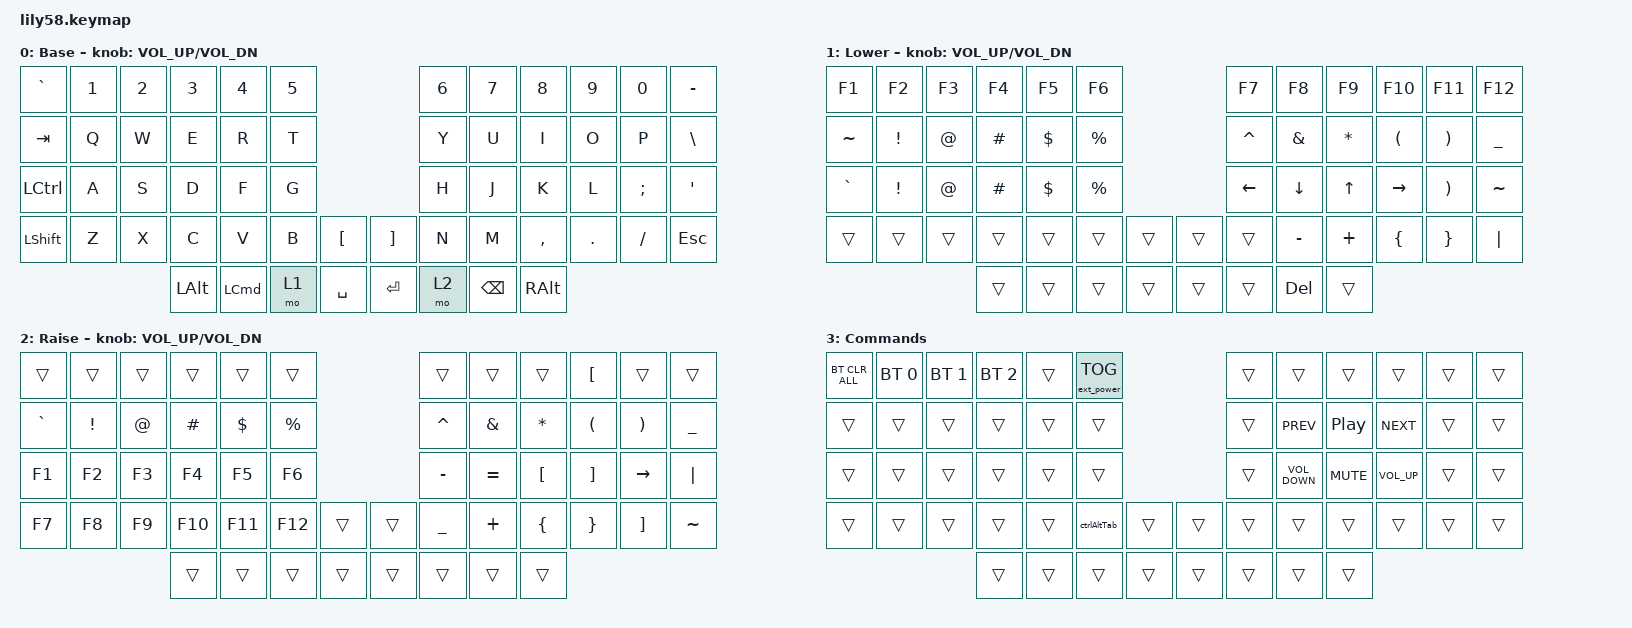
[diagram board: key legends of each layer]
/*
 * Copyright (c) 2020 The ZMK Contributors
 *
 * SPDX-License-Identifier: MIT
 */

#include <behaviors.dtsi>
#include <dt-bindings/zmk/bt.h>
#include <dt-bindings/zmk/ext_power.h>
#include <dt-bindings/zmk/keys.h>

/ {
    macros {
        ctrlAltTab: ctrlAltTab {
            compatible = "zmk,behavior-macro";
            #binding-cells = <0>;
            bindings = <&none &kp LCTRL &kp LEFT_ALT &kp DELETE>;
            label = "CTRLALTTAB";
        };
    };

    keymap {
        compatible = "zmk,keymap";

        default_layer {
            // ------------------------------------------------------------------------------------------------------------
            // |  ESC  |  1  |  2  |  3   |  4   |  5   |                   |  6   |  7    |  8    |  9   |   0   |   `   |
            // |  TAB  |  Q  |  W  |  E   |  R   |  T   |                   |  Y   |  U    |  I    |  O   |   P   |   -   |
            // |  CTRL |  A  |  S  |  D   |  F   |  G   |                   |  H   |  J    |  K    |  L   |   ;   |   '   |
            // | SHIFT |  Z  |  X  |  C   |  V   |  B   |   "["  |  |  "]"  |  N   |  M    |  ,    |  .   |   /   | SHIFT |
            //                     | ALT  | GUI  | LOWER|  SPACE |  | ENTER | RAISE| BSPC  | GUI   |

            display-name = "Base";
            bindings = <
&kp GRAVE  &kp N1  &kp N2  &kp N3    &kp N4            &kp N5                         &kp N6  &kp N7         &kp N8         &kp N9   &kp N0    &kp MINUS
&kp TAB    &kp Q   &kp W   &kp E     &kp R             &kp T                          &kp Y   &kp U          &kp I          &kp O    &kp P     &kp BACKSLASH
&kp LCTRL  &kp A   &kp S   &kp D     &kp F             &kp G                          &kp H   &kp J          &kp K          &kp L    &kp SEMI  &kp SQT
&kp LSHFT  &kp Z   &kp X   &kp C     &kp V             &kp B   &kp LBKT     &kp RBKT  &kp N   &kp M          &kp COMMA      &kp DOT  &kp FSLH  &kp ESC
                           &kp LALT  &kp LEFT_COMMAND  &mo 1   &kp SPACE    &kp RET   &mo 2   &kp BACKSPACE  &kp RIGHT_ALT
            >;

            sensor-bindings = <&inc_dec_kp C_VOL_UP C_VOL_DN>;
        };

        lower_layer {
            // ------------------------------------------------------------------------------------------------------------
            // | BTCLR | BT1 | BT2 |  BT3 |  BT4 |  BT5 |                   |      |       |       |      |       |       |
            // |  F1   |  F2 |  F3 |  F4  |  F5  |  F6  |                   |  F7  |  F8   |  F9   |  F10 |  F11  |  F12  |
            // |   `   |  !  |  @  |  #   |  $   |  %   |                   |  ^   |  &    |  *    |  (   |   )   |   ~   |
            // |       |     |     |      |      |      |        |  |       |      |  _    |  +    |  {   |   }   |  "|"  |
            //                     |      |      |      |        |  |       |      |       |       |

            display-name = "Lower";
            bindings = <
&kp F1     &kp F2           &kp F3       &kp F4    &kp F5      &kp F6                         &kp F7     &kp F8          &kp F9        &kp F10               &kp F11                &kp F12
&kp TILDE  &kp EXCLAMATION  &kp AT_SIGN  &kp HASH  &kp DOLLAR  &kp PERCENT                    &kp CARET  &kp AMPERSAND   &kp ASTERISK  &kp LEFT_PARENTHESIS  &kp RIGHT_PARENTHESIS  &kp UNDERSCORE
&kp GRAVE  &kp EXCL         &kp AT       &kp HASH  &kp DOLLAR  &kp PRCNT                      &kp LEFT   &kp DOWN_ARROW  &kp UP_ARROW  &kp RIGHT             &kp RPAR               &kp TILDE
&trans     &trans           &trans       &trans    &trans      &trans       &trans    &trans  &trans     &kp MINUS       &kp PLUS      &kp LBRC              &kp RBRC               &kp PIPE
                                         &trans    &trans      &trans       &trans    &trans  &trans     &kp DELETE      &trans
            >;

            sensor-bindings = <&inc_dec_kp C_VOL_UP C_VOL_DN>;
        };

        raise_layer {
            // ------------------------------------------------------------------------------------------------------------
            // |       |     |     |      |      |      |                   |      |       |       |      |       |       |
            // |   `   |  1  |  2  |  3   |  4   |  5   |                   |  6   |   7   |   8   |  9   |   0   |       |
            // |   F1  |  F2 |  F3 |  F4  |  F5  |  F6  |                   |      |   <-  |   v   |  ^   |  ->   |       |
            // |   F7  |  F8 |  F9 |  F10 |  F11 |  F12 |        |  |       |  +   |   -   |   =   |  [   |   ]   |   \   |
            //                     |      |      |      |        |  |       |      |       |       |

            display-name = "Raise";
            bindings = <
&trans     &trans           &trans       &trans    &trans      &trans                         &trans          &trans         &trans            &kp LEFT_BRACKET      &trans                 &trans
&kp GRAVE  &kp EXCLAMATION  &kp AT_SIGN  &kp HASH  &kp DOLLAR  &kp PERCENT                    &kp CARET       &kp AMPERSAND  &kp ASTERISK      &kp LEFT_PARENTHESIS  &kp RIGHT_PARENTHESIS  &kp UNDERSCORE
&kp F1     &kp F2           &kp F3       &kp F4    &kp F5      &kp F6                         &kp MINUS       &kp EQUAL      &kp LEFT_BRACKET  &kp RIGHT_BRACKET     &kp RIGHT              &kp PIPE
&kp F7     &kp F8           &kp F9       &kp F10   &kp F11     &kp F12      &trans    &trans  &kp UNDERSCORE  &kp PLUS       &kp LEFT_BRACE    &kp RIGHT_BRACE       &kp RBKT               &kp TILDE
                                         &trans    &trans      &trans       &trans    &trans  &trans          &trans         &trans
            >;

            sensor-bindings = <&inc_dec_kp C_VOL_UP C_VOL_DN>;
        };

        Commands {
            bindings = <
&bt BT_CLR_ALL  &bt BT_SEL 0  &bt BT_SEL 1  &bt BT_SEL 2  &trans  &ext_power EP_TOG                    &trans  &trans             &trans      &trans           &trans  &trans
&trans          &trans        &trans        &trans        &trans  &trans                               &trans  &kp C_PREV         &kp C_PP    &kp C_NEXT       &trans  &trans
&trans          &trans        &trans        &trans        &trans  &trans                               &trans  &kp C_VOLUME_DOWN  &kp C_MUTE  &kp C_VOLUME_UP  &trans  &trans
&trans          &trans        &trans        &trans        &trans  &ctrlAltTab        &trans    &trans  &trans  &trans             &trans      &trans           &trans  &trans
                                            &trans        &trans  &trans             &trans    &trans  &trans  &trans             &trans
            >;
        };
    };

    conditional_layers {
        compatible = "zmk,conditional-layers";

        Goto_Commands_Layer {
            if-layers = <1 2>;
            then-layer = <3>;
        };
    };
};
